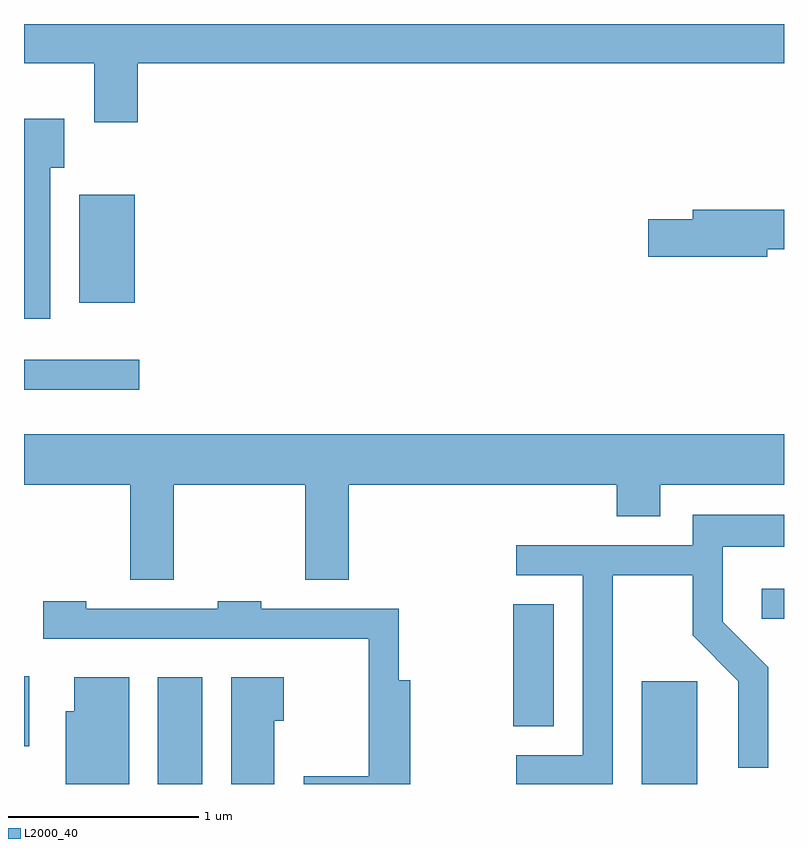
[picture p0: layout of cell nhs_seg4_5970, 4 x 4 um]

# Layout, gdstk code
import gdstk
lib = gdstk.Library(unit=1e-6, precision=1e-09)
def R(c, l, rs):  # rectangles x0, y0, x1, y1
    for r in rs: c.add(gdstk.rectangle(r[:2], r[2:], *l))
def P(c, l, *ps):  # polygons
    for p in ps: c.add(gdstk.Polygon(p, *l))
L2000_40 = (2000, 40)

nhs_seg4_5970 = lib.new_cell('nhs_seg4_5970')
R(nhs_seg4_5970, L2000_40, [(360.316,1361.982,360.549,1362.544), (362.861,1361.982,363.154,1362.524), (359.611,1362.181,359.639,1362.549), (362.186,1362.286,362.399,1362.929), (363.493,1362.851,363.611,1363.009), (359.611,1364.056,360.218,1364.214), (359.901,1364.516,360.194,1365.084)])
P(nhs_seg4_5970, L2000_40, [(360.209,1365.776),(363.611,1365.776),(363.611,1365.982),(359.611,1365.982),(359.611,1365.776),(359.981,1365.776),(359.981,1365.466),(360.209,1365.466)],
  [(359.749,1365.226),(359.824,1365.226),(359.824,1365.484),(359.611,1365.484),(359.611,1364.431),(359.749,1364.431)],
  [(363.524,1364.796),(363.611,1364.796),(363.611,1365.004),(363.131,1365.004),(363.131,1364.954),(362.896,1364.954),(362.896,1364.756),(363.524,1364.756)],
  [(360.399,1363.556),(361.091,1363.556),(361.091,1363.056),(361.319,1363.056),(361.319,1363.556),(362.731,1363.556),(362.731,1363.391),(362.959,1363.391),(362.959,1363.556),(363.611,1363.556),(363.611,1363.824),(359.611,1363.824),(359.611,1363.556),(360.171,1363.556),(360.171,1363.056),(360.399,1363.056)],
  [(362.709,1363.081),(363.131,1363.081),(363.131,1362.764),(363.371,1362.524),(363.371,1362.068),(363.529,1362.068),(363.529,1362.597),(363.289,1362.837),(363.289,1363.231),(363.611,1363.231),(363.611,1363.399),(363.131,1363.399),(363.131,1363.239),(362.203,1363.239),(362.203,1363.081),(362.551,1363.081),(362.551,1362.134),(362.203,1362.134),(362.203,1361.982),(362.709,1361.982)],
  [(361.644,1362.529),(361.584,1362.529),(361.584,1362.904),(360.859,1362.904),(360.859,1362.944),(360.631,1362.944),(360.631,1362.904),(359.939,1362.904),(359.939,1362.944),(359.711,1362.944),(359.711,1362.746),(361.426,1362.746),(361.426,1362.024),(361.083,1362.024),(361.083,1361.982),(361.644,1361.982)],
  [(360.164,1362.544),(359.876,1362.544),(359.876,1362.364),(359.831,1362.364),(359.831,1361.982),(360.164,1361.982)],
  [(360.929,1362.316),(360.979,1362.316),(360.979,1362.544),(360.701,1362.544),(360.701,1361.982),(360.929,1361.982)])

lib.write_gds('nhs_seg4_5970.gds')
